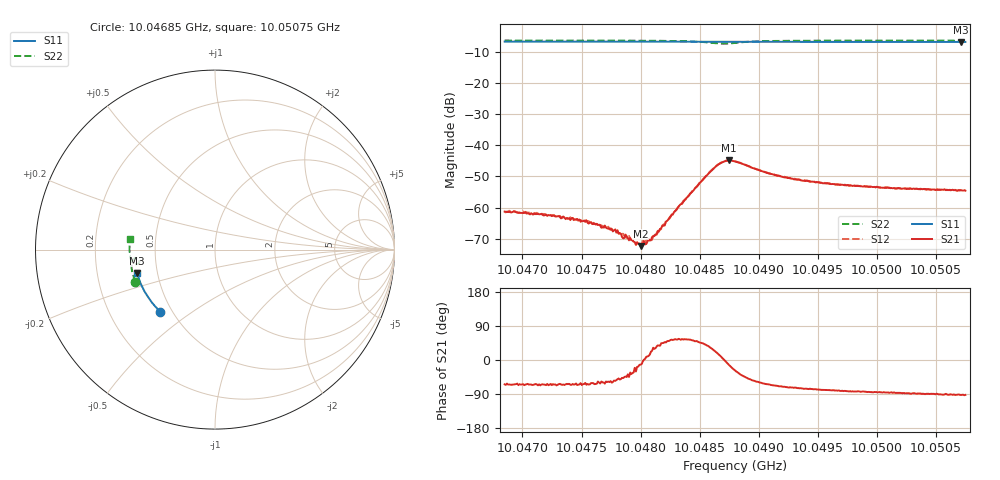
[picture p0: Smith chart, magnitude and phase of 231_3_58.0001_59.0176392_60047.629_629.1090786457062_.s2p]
#  HZ  S  RI  R  50.00
! Rohde & Schwarz Vector Network Analyzer
! Rohde-Schwarz,ZNB20-2Port,1311601062101988,3.16
! Created: UTC 3/21/2024, 1:00:40 AM
! freq[Hz]  re:S11  im:S11  re:S21  im:S21  re:S12  im:S12  re:S22  im:S22
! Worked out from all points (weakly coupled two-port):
!   401 points, 10.04685 GHz to 10.05075 GHz, reference 50 ohm
!   highest |S21| = -44.90 dB at 10.04875 GHz (marker M1); lowest = -72.3 dB at 10.048 GHz (marker M2)
!   lowest |S11| = -6.9 dB at 10.05071 GHz (marker M3), VSWR 2.66, Z = 19.1 - j6.29 ohm
!   |S11| at or under -10 dB: nowhere
!   |S22| runs from -7.4 to -6.4 dB; largest |S21 - S12| = 0.00038
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1.0046849e10  -0.3046 -0.3456  0.000376 -0.000778  0.000445 -0.000724  -0.4445 -0.18
1.0047024e10  -0.3131 -0.3375  0.000352 -0.000749  0.000423 -0.000743  -0.4485 -0.1688
1.0047288e10  -0.3252 -0.325  0.000282 -0.000662  0.000367 -0.000655  -0.4541 -0.1515
1.0047502e10  -0.3349 -0.3145  0.000246 -0.000554  0.000301 -0.000562  -0.458 -0.1368
1.0047765e10  -0.3461 -0.3013  0.00022 -0.000352  0.000278 -0.000332  -0.4622 -0.1181
1.0047843e10  -0.3492 -0.2972  0.000228 -0.000245  0.00027 -0.000271  -0.4632 -0.1125
1.0047912e10  -0.3521 -0.2937  0.000272 -0.000177  0.000259 -0.000181  -0.464 -0.1072
1.004798e10  -0.3548 -0.2901  0.000249 -7.89e-05  0.000261 -5.77e-05  -0.4646 -0.1017
1.0047999e10  -0.3556 -0.2891  0.000237 -5.05e-05  0.000236 -4.41e-05  -0.4648 -0.1002
1.0048058e10  -0.358 -0.2859  0.000282 4.5e-05  0.000283 7.12e-05  -0.4651 -0.0955
1.0048087e10  -0.3589 -0.2844  0.00028 0.000111  0.000281 9.67e-05  -0.4652 -0.0932
1.0048155e10  -0.3619 -0.2809  0.000334 0.000259  0.000321 0.000259  -0.4655 -0.0873
1.0048341e10  -0.3688 -0.2707  0.000676 0.000913  0.000627 0.000952  -0.4633 -0.0695
1.0048585e10  -0.3776 -0.2573  0.00304 0.00204  0.00295 0.00226  -0.4405 -0.0461
1.0048672e10  -0.3804 -0.2525  0.005 0.001  0.00496 0.0013  -0.4236 -0.0537
1.004875e10  -0.3831 -0.2483  0.00552 -0.00136  0.00562 -0.00103  -0.4227 -0.0719
1.0048799e10  -0.3848 -0.2457  0.00488 -0.00252  0.00505 -0.00229  -0.4307 -0.0797
1.0049101e10  -0.3949 -0.2286  0.00141 -0.00316  0.00163 -0.00308  -0.4666 -0.0608
1.0049452e10  -0.4056 -0.2079  0.000604 -0.00254  0.000735 -0.00255  -0.4744 -0.0305
1.0050106e10  -0.4225 -0.1682  0.000115 -0.00207  0.000269 -0.00206  -0.4761 0.0173
1.005071e10  -0.4346 -0.1306  -7.42e-05 -0.00189  4.37e-05 -0.00191  -0.4728 0.0584
1.0050749e10  -0.4354 -0.1281  -6.65e-05 -0.00186  4.71e-05 -0.00191  -0.4723 0.0609
